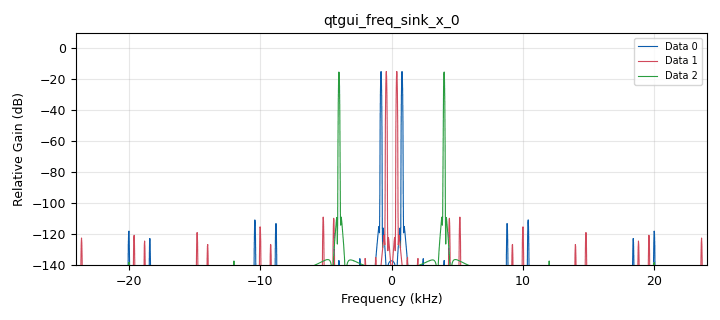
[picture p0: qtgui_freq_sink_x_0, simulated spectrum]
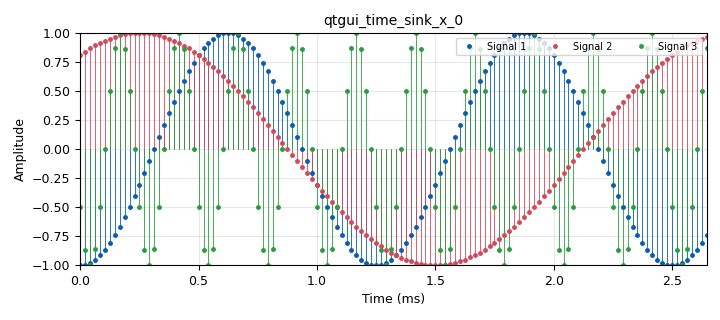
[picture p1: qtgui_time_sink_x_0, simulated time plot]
options:
  parameters:
    generate_options: qt_gui
    id: Lab1_punto3
    output_language: python
    title: lab1 punto interpolado
  states: {}

blocks:
- name: freq
  id: variable_qtgui_range
  parameters:
    label: frequency
    orient: Qt.Horizontal
    start: '1000'
    step: '1000'
    stop: '40000'
    value: '4000'
  states: {}
- name: samp_rate
  id: variable
  parameters:
    value: '48000'
  states: {}
- name: analog_sig_source_x_0
  id: analog_sig_source_x
  parameters:
    amp: '1'
    freq: freq
    offset: '0'
    phase: '0'
    samp_rate: samp_rate
    type: float
    waveform: analog.GR_COS_WAVE
  states: {}
- name: analog_sig_source_x_0_0
  id: analog_sig_source_x
  parameters:
    amp: '1'
    freq: freq
    offset: '0'
    phase: '0'
    samp_rate: samp_rate
    type: float
    waveform: analog.GR_COS_WAVE
  states: {}
- name: analog_sig_source_x_0_0_0
  id: analog_sig_source_x
  parameters:
    amp: '1'
    freq: freq
    offset: '0'
    phase: '0'
    samp_rate: samp_rate
    type: float
    waveform: analog.GR_COS_WAVE
  states: {}
- name: blocks_throttle_0
  id: blocks_throttle
  parameters:
    samples_per_second: samp_rate
    type: float
  states: {}
- name: qtgui_freq_sink_x_0
  id: qtgui_freq_sink_x
  parameters:
    bw: samp_rate
    fc: '0'
    fftsize: '2048'
    nconnections: '3'
    type: float
    wintype: firdes.WIN_BLACKMAN_hARRIS
  states: {}
- name: qtgui_time_sink_x_0
  id: qtgui_time_sink_x
  parameters:
    nconnections: '3'
    size: '128'
    srate: samp_rate
    stemplot: 'True'
    type: float
  states: {}
- name: rational_resampler_xxx_0
  id: rational_resampler_xxx
  parameters:
    decim: '1'
    interp: '5'
    taps: ''
    type: fff
  states: {}
- name: rational_resampler_xxx_0_0
  id: rational_resampler_xxx
  parameters:
    decim: '1'
    interp: '1'
    taps: ''
    type: fff
  states: {}
- name: rational_resampler_xxx_0_0_0
  id: rational_resampler_xxx
  parameters:
    decim: '1'
    interp: '10'
    taps: ''
    type: fff
  states: {}

connections:
- [analog_sig_source_x_0, '0', rational_resampler_xxx_0, '0']
- [analog_sig_source_x_0_0, '0', rational_resampler_xxx_0_0, '0']
- [analog_sig_source_x_0_0_0, '0', rational_resampler_xxx_0_0_0, '0']
- [blocks_throttle_0, '0', qtgui_freq_sink_x_0, '0']
- [blocks_throttle_0, '0', qtgui_time_sink_x_0, '0']
- [rational_resampler_xxx_0, '0', blocks_throttle_0, '0']
- [rational_resampler_xxx_0_0, '0', qtgui_freq_sink_x_0, '2']
- [rational_resampler_xxx_0_0, '0', qtgui_time_sink_x_0, '2']
- [rational_resampler_xxx_0_0_0, '0', qtgui_freq_sink_x_0, '1']
- [rational_resampler_xxx_0_0_0, '0', qtgui_time_sink_x_0, '1']

metadata:
  file_format: 1
